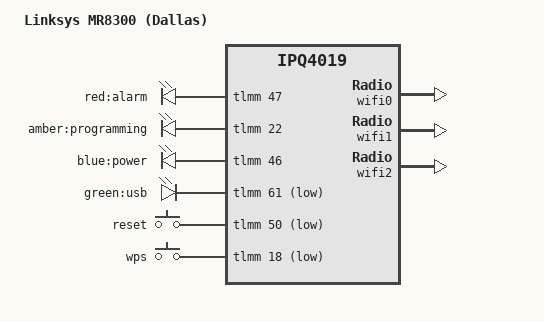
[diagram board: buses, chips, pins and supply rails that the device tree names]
// SPDX-License-Identifier: GPL-2.0-or-later OR MIT

#include "qcom-ipq4019-xx8300.dtsi"

/ {
	model = "Linksys MR8300 (Dallas)";
	compatible = "linksys,mr8300", "qcom,ipq4019";

	aliases {
		led-boot = &led_blue;
		led-failsafe = &led_red;
		led-running = &led_blue;
		led-upgrade = &led_amber;
		serial0 = &blsp1_uart1;
	};

	// Top panel LEDs, above Linksys logo
	leds {
		compatible = "gpio-leds";

		led_red: red {
			label = "red:alarm";
			gpios = <&tlmm 47 GPIO_ACTIVE_HIGH>;
		};

		led_amber: amber {
			label = "amber:programming";
			gpios = <&tlmm 22 GPIO_ACTIVE_HIGH>;
			panic-indicator;
		};

		led_blue: blue {
			label = "blue:power";
			gpios = <&tlmm 46 GPIO_ACTIVE_HIGH>;
		};

		// On back panel, above USB socket

		led_usb: usb {
			label = "green:usb";
			gpios = <&tlmm 61 GPIO_ACTIVE_LOW>;
			trigger-sources = <&usb3_port1>, <&usb3_port2>,
					  <&usb2_port1>;
			linux,default-trigger = "usbport";
		};
	};

	keys {
		compatible = "gpio-keys";

		reset {
			label = "reset";
			linux,code = <KEY_RESTART>;
			gpios = <&tlmm 50 GPIO_ACTIVE_LOW>;
		};

		wps {
			label = "wps";
			linux,code = <KEY_WPS_BUTTON>;
			gpios = <&tlmm 18 GPIO_ACTIVE_LOW>;
		};
	};
};

&wifi0 {
	status = "okay";
	qcom,ath10k-calibration-variant = "linksys-mr8300-v0-fcc";
};

&wifi1 {
	status = "okay";
	ieee80211-freq-limit = <5170000 5330000>;
	qcom,ath10k-calibration-variant = "linksys-mr8300-v0-fcc";
};

&wifi2 {
	status = "okay";
	ieee80211-freq-limit = <5490000 5835000>;
	qcom,ath10k-calibration-variant = "linksys-mr8300-v0-fcc";
};
